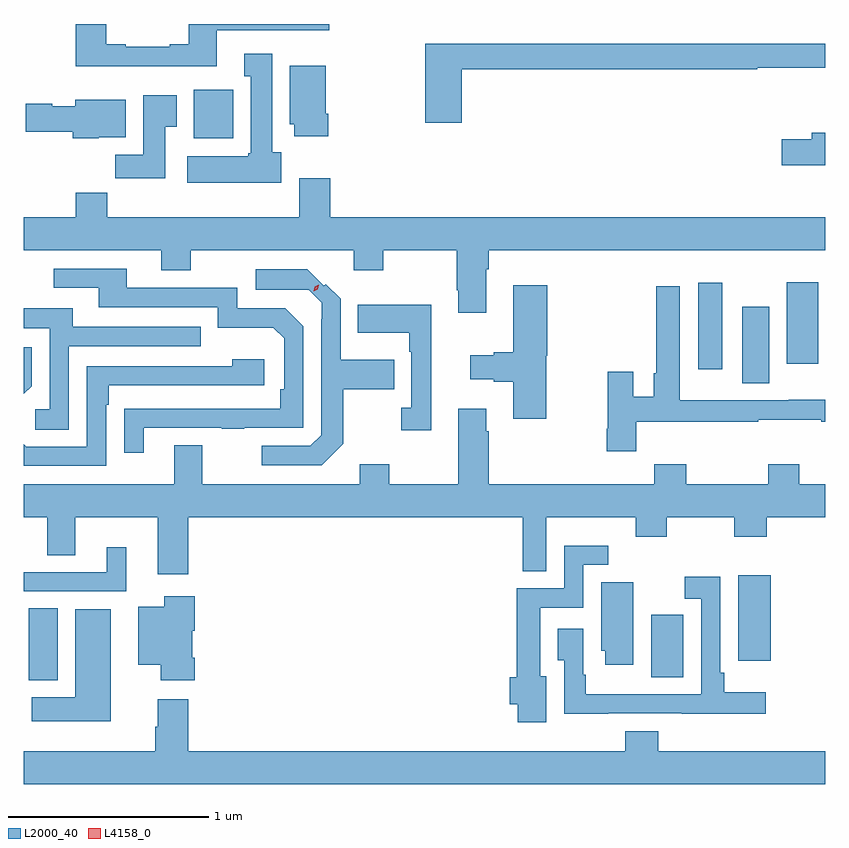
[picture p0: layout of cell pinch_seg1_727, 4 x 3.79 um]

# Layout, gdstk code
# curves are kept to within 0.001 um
import gdstk
lib = gdstk.Library(unit=1e-6, precision=1e-09)
def R(c, l, rs):  # rectangles x0, y0, x1, y1
    for r in rs: c.add(gdstk.rectangle(r[:2], r[2:], *l))
def P(c, l, *ps):  # polygons
    for p in ps: c.add(gdstk.Polygon(p, *l))
L2000_40 = (2000, 40)
L4158_0 = (4158, 0)

pinch_seg1_727 = lib.new_cell('pinch_seg1_727')
R(pinch_seg1_727, L2000_40, [(658.193,540.263,658.336,540.62), (661.298,540.277,661.459,540.588), (661.733,540.36,661.894,540.787), (661.754,541.744,661.888,542.125), (661.532,541.815,661.654,542.245), (661.976,541.842,662.131,542.248), (659.015,542.966,659.212,543.208)])
P(pinch_seg1_727, L2000_40, [(659.131,543.507),(659.692,543.507),(659.692,543.537),(658.991,543.537),(658.991,543.436),(658.895,543.436),(658.895,543.423),(658.675,543.423),(658.675,543.436),(658.579,543.436),(658.579,543.537),(658.427,543.537),(658.427,543.326),(659.131,543.326)],
  [(660.353,543.31),(661.828,543.31),(661.828,543.318),(662.167,543.318),(662.167,543.439),(660.17,543.439),(660.17,543.045),(660.353,543.045)],
  [(659.452,542.898),(659.407,542.898),(659.407,543.388),(659.267,543.388),(659.267,543.275),(659.3,543.275),(659.3,542.892),(659.287,542.892),(659.287,542.878),(658.983,542.878),(658.983,542.744),(659.452,542.744)],
  [(659.687,543.088),(659.674,543.088),(659.674,543.328),(659.495,543.328),(659.495,543.036),(659.516,543.036),(659.516,542.976),(659.687,542.976)],
  [(658.873,543.025),(658.93,543.025),(658.93,543.181),(658.763,543.181),(658.763,542.884),(658.624,542.884),(658.624,542.766),(658.873,542.766)],
  [(658.542,542.972),(658.675,542.972),(658.675,543.16),(658.424,543.16),(658.424,543.127),(658.308,543.127),(658.308,543.14),(658.176,543.14),(658.176,542.998),(658.412,542.998),(658.412,542.966),(658.542,542.966)],
  [(662.167,542.995),(662.099,542.995),(662.099,542.961),(661.95,542.961),(661.95,542.831),(662.167,542.831)],
  [(660.475,542.312),(660.488,542.312),(660.488,542.408),(662.167,542.408),(662.167,542.572),(659.696,542.572),(659.696,542.767),(659.543,542.767),(659.543,542.572),(658.583,542.572),(658.583,542.696),(658.427,542.696),(658.427,542.572),(658.167,542.572),(658.167,542.408),(658.853,542.408),(658.853,542.309),(659.001,542.309),(659.001,542.408),(659.813,542.408),(659.813,542.309),(659.961,542.309),(659.961,542.408),(660.328,542.408),(660.328,542.209),(660.335,542.209),(660.335,542.097),(660.475,542.097)],
  [(658.765,541.521),(659.155,541.521),(659.155,541.516),(659.267,541.516),(659.267,541.521),(659.562,541.521),(659.562,542.028),(659.472,542.118),(659.232,542.118),(659.232,542.22),(658.681,542.22),(658.681,542.316),(658.317,542.316),(658.317,542.22),(658.541,542.22),(658.541,542.124),(659.136,542.124),(659.136,542.021),(659.413,542.021),(659.466,541.968),(659.466,541.714),(659.446,541.714),(659.446,541.617),(658.669,541.616),(658.669,541.398),(658.765,541.398)],
  [(659.761,541.441),(659.761,541.714),(660.017,541.714),(660.017,541.861),(659.748,541.861),(659.748,542.165),(659.674,542.239),(659.665,542.23),(659.582,542.313),(659.325,542.313),(659.325,542.211),(659.589,542.211),(659.655,542.145),(659.655,542.063),(659.652,542.063),(659.652,541.485),(659.598,541.431),(659.355,541.431),(659.355,541.335),(659.655,541.335)],
  [(660.774,541.881),(660.779,541.881),(660.779,542.233),(660.611,542.233),(660.611,541.898),(660.512,541.898),(660.512,541.885),(660.396,541.885),(660.396,541.763),(660.512,541.763),(660.512,541.751),(660.611,541.751),(660.611,541.566),(660.774,541.566)],
  [(661.223,541.553),(661.416,541.553),(661.416,541.551),(661.832,541.551),(661.832,541.561),(662.147,541.561),(662.147,541.551),(662.167,541.551),(662.167,541.661),(661.984,541.661),(661.984,541.659),(661.65,541.659),(661.65,541.66),(661.44,541.66),(661.44,542.227),(661.324,542.227),(661.324,541.795),(661.31,541.795),(661.31,541.676),(661.21,541.676),(661.21,541.801),(661.081,541.801),(661.081,541.516),(661.076,541.516),(661.076,541.404),(661.223,541.404)],
  [(660.2,542.137),(659.833,542.137),(659.833,541.997),(660.09,541.997),(660.09,541.901),(660.102,541.901),(660.102,541.622),(660.051,541.622),(660.051,541.509),(660.2,541.509)],
  [(658.392,541.929),(659.051,541.929),(659.051,542.025),(658.411,542.025),(658.411,542.119),(658.167,542.119),(658.167,542.019),(658.296,542.019),(658.296,541.614),(658.224,541.614),(658.224,541.513),(658.392,541.513)],
  [(658.206,541.73),(658.206,541.924),(658.167,541.924),(658.167,541.691)],
  [(658.578,541.637),(658.591,541.637),(658.591,541.734),(659.368,541.734),(659.368,541.864),(659.207,541.864),(659.207,541.83),(658.482,541.83),(658.482,541.428),(658.179,541.428),(658.167,541.44),(658.167,541.332),(658.578,541.332)],
  [(658.988,541.076),(660.657,541.076),(660.657,540.805),(660.775,540.805),(660.775,541.076),(661.222,541.076),(661.222,540.977),(661.377,540.977),(661.377,541.076),(661.714,541.076),(661.714,540.977),(661.874,540.977),(661.874,541.076),(662.167,541.076),(662.167,541.24),(662.037,541.24),(662.037,541.339),(661.882,541.339),(661.882,541.24),(661.473,541.24),(661.473,541.339),(661.313,541.339),(661.313,541.24),(660.488,541.24),(660.488,541.505),(660.475,541.505),(660.475,541.618),(660.335,541.618),(660.335,541.24),(659.991,541.24),(659.991,541.339),(659.843,541.339),(659.843,541.24),(659.059,541.24),(659.059,541.435),(658.919,541.435),(658.919,541.24),(658.167,541.24),(658.167,541.076),(658.283,541.076),(658.283,540.886),(658.423,540.886),(658.423,541.076),(658.835,541.076),(658.835,540.792),(658.988,540.792)],
  [(660.775,540.283),(660.745,540.283),(660.745,540.624),(660.96,540.624),(660.96,540.837),(661.084,540.837),(661.084,540.934),(660.864,540.934),(660.864,540.72),(660.627,540.72),(660.627,540.278),(660.593,540.278),(660.593,540.143),(660.632,540.143),(660.632,540.051),(660.775,540.051)],
  [(658.678,540.925),(658.58,540.925),(658.58,540.801),(658.167,540.801),(658.167,540.705),(658.678,540.705)],
  [(661.085,540.096),(661.451,540.096),(661.451,540.095),(661.87,540.095),(661.87,540.202),(661.664,540.202),(661.664,540.298),(661.644,540.298),(661.644,540.778),(661.467,540.778),(661.467,540.669),(661.548,540.669),(661.548,540.192),(661.202,540.192),(661.202,540.193),(660.973,540.193),(660.973,540.289),(660.96,540.289),(660.96,540.52),(660.833,540.52),(660.833,540.361),(660.864,540.361),(660.864,540.095),(661.085,540.095)],
  [(661.21,540.752),(661.049,540.752),(661.049,540.408),(661.07,540.408),(661.07,540.339),(661.21,540.339)],
  [(659.021,540.373),(659.008,540.373),(659.008,540.509),(659.021,540.509),(659.021,540.682),(658.868,540.682),(658.868,540.628),(658.739,540.628),(658.739,540.338),(658.85,540.338),(658.85,540.261),(659.021,540.261)],
  [(658.6,540.616),(658.424,540.616),(658.424,540.178),(658.208,540.178),(658.208,540.056),(658.6,540.056)],
  [(662.167,539.908),(661.334,539.908),(661.334,540.007),(661.169,540.007),(661.169,539.908),(658.988,539.908),(658.988,540.166),(658.835,540.166),(658.835,540.029),(658.823,540.029),(658.823,539.908),(658.167,539.908),(658.167,539.744),(662.167,539.744)])
P(pinch_seg1_727, L4158_0, [(659.614,542.202),(659.614,542.203),(659.619,542.225),(659.64,542.236),(659.64,542.236),(659.64,542.236),(659.635,542.213),(659.615,542.202)])

lib.write_gds('pinch_seg1_727.gds')
